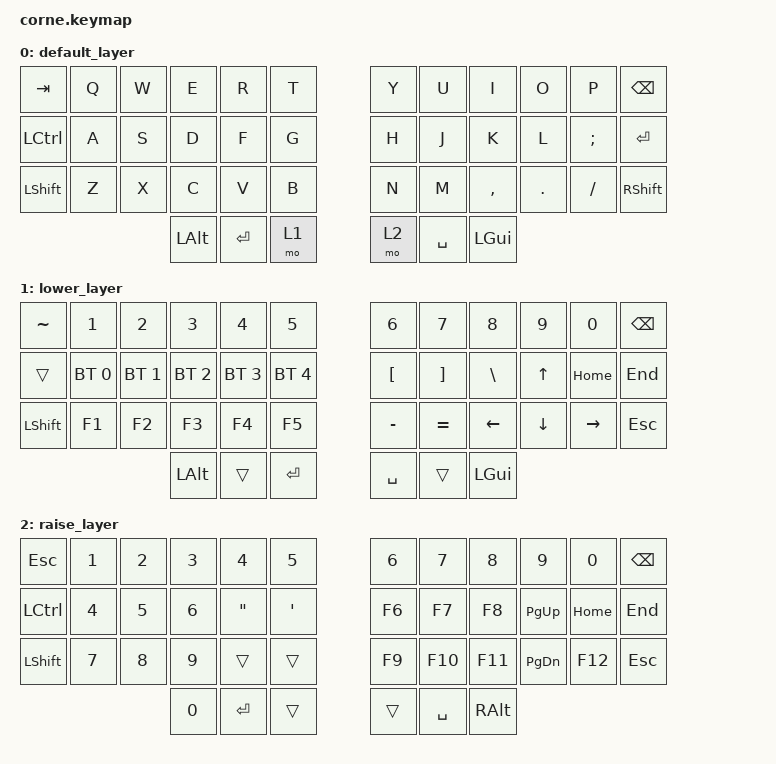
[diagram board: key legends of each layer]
/*
 * Copyright (c) 2020 The ZMK Contributors
 *
 * SPDX-License-Identifier: MIT
 */

#include <behaviors.dtsi>
#include <dt-bindings/zmk/keys.h>
#include <dt-bindings/zmk/bt.h>

/ {
        keymap {
                compatible = "zmk,keymap";

                default_layer {
// -----------------------------------------------------------------------------------------
// |  TAB |  Q  |  W  |  E  |  R  |  T  |   |  Y  |  U   |  I  |  O  |  P  | BKSP |
// | CTRL |  A  |  S  |  D  |  F  |  G  |   |  H  |  J   |  K  |  L  |  ;  | ENT  |
// | SHFT |  Z  |  X  |  C  |  V  |  B  |   |  N  |  M   |  ,  |  .  |  /  | SHFT |
//                    | ALT | ENT | LWR |   | RSE | SPC  | GUI |
                        bindings = <
   &kp TAB   &kp Q &kp W &kp E &kp R &kp T   &kp Y &kp U &kp I &kp O &kp P &kp BSPC
   &kp LCTRL &kp A &kp S &kp D &kp F &kp G   &kp H &kp J &kp K &kp L &kp SEMI &kp RET
   &kp LSHFT &kp Z &kp X &kp C &kp V &kp B   &kp N &kp M &kp COMMA &kp DOT &kp FSLH &kp RSHFT
                    &kp LALT &kp RET &mo 1   &mo 2 &kp SPACE &kp LGUI
                        >;
                };
                lower_layer {
// -----------------------------------------------------------------------------------------
// |  ~   |  1  |  2  |  3  |  4  |  5  |   |  6  |  7  |  8  |  9   |  0   | BKSP |
// |      | BT1 | BT2 | BT3 | BT4 | BT5 |   |  [  |  ]  |  \  |  UP  | HOME | END  |
// | SHFT | F1  | F2  | F3  | F4  | F5  |   |  -  |  =  | LFT | DWN  | RGT  | ESC  |
//                    | ALT |     | ENT |   | SPC |     | GUI |
                        bindings = <
   &kp TILDE &kp N1 &kp N2 &kp N3 &kp N4 &kp N5   &kp N6 &kp N7 &kp N8 &kp N9 &kp N0 &kp BSPC
   &trans &bt BT_SEL 0 &bt BT_SEL 1 &bt BT_SEL 2 &bt BT_SEL 3 &bt BT_SEL 4 
                                                  &kp LBKT &kp RBKT &kp BSLH &kp UP &kp HOME &kp END
   &kp LSHFT &kp F1 &kp F2 &kp F3 &kp F4 &kp F5   &kp MINUS &kp EQUAL &kp LEFT &kp DOWN &kp RIGHT &kp ESC
                 &kp LALT &trans &kp RET          &kp SPACE &trans &kp LGUI
                        >;
                };

                raise_layer {
// -----------------------------------------------------------------------------------------
// | ESC  |  1  |  2  |  3  |  4  |  5  |   |  6  |  7  |  8  |  9    |  0   | BKSP |
// | CTRL |  4  |  5  |  6  |  "  |  '  |   |  F6 |  F7 |  F8 | PG_UP | HOME | END  |
// | SHFT |  7  |  8  |  9  |     |     |   |  F9 | F10 | F11 | PG_DN | F12  | ESC  |
//                    |  0  |     | ENT |   | SPC |     | ALT |
                        bindings = <
   &kp ESC &kp N1 &kp N2 &kp N3 &kp N4 &kp N5       &kp N6 &kp N7 &kp N8 &kp N9 &kp N0 &kp BSPC
   &kp LCTRL &kp N4 &kp N5 &kp N6 &kp DQT &kp SQT   &kp F6 &kp F7 &kp F8 &kp PG_UP &kp HOME &kp END
   &kp LSHFT &kp N7 &kp N8 &kp N9 &trans &trans     &kp F9 &kp F10 &kp F11 &kp PG_DN &kp F12 &kp ESC
                        &kp N0 &kp RET &trans       &trans &kp SPACE &kp RALT
                        >;
                };
        };
};
